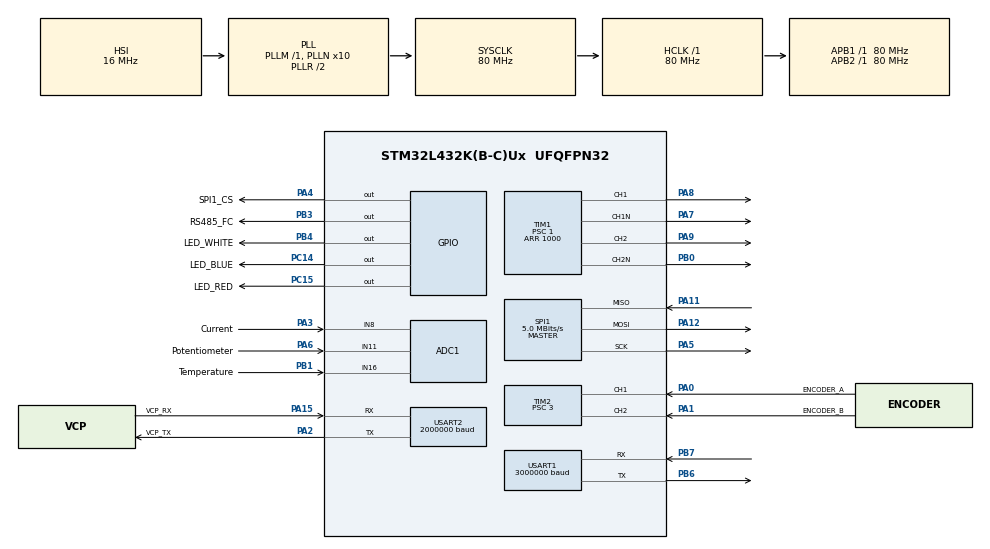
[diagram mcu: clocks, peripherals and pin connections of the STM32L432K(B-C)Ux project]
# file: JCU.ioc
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ADC1.Channel-0\#ChannelRegularConversion=ADC_CHANNEL_11
ADC1.Channel-1\#ChannelRegularConversion=ADC_CHANNEL_8
ADC1.Channel-2\#ChannelRegularConversion=ADC_CHANNEL_16
ADC1.EOCSelection=ADC_EOC_SEQ_CONV
ADC1.NbrOfConversion=3
ADC1.NbrOfConversionFlag=1
ADC1.OffsetNumber-0\#ChannelRegularConversion=ADC_OFFSET_NONE
ADC1.OffsetNumber-1\#ChannelRegularConversion=ADC_OFFSET_NONE
ADC1.OffsetNumber-2\#ChannelRegularConversion=ADC_OFFSET_NONE
ADC1.Rank-0\#ChannelRegularConversion=1
ADC1.Rank-1\#ChannelRegularConversion=2
ADC1.Rank-2\#ChannelRegularConversion=3
ADC1.SamplingTime-0\#ChannelRegularConversion=ADC_SAMPLETIME_92CYCLES_5
ADC1.SamplingTime-1\#ChannelRegularConversion=ADC_SAMPLETIME_92CYCLES_5
ADC1.SamplingTime-2\#ChannelRegularConversion=ADC_SAMPLETIME_92CYCLES_5
ADC1.master=1
Dma.ADC1.4.Direction=DMA_PERIPH_TO_MEMORY
Dma.ADC1.4.Instance=DMA1_Channel1
Dma.ADC1.4.MemDataAlignment=DMA_MDATAALIGN_HALFWORD
Dma.ADC1.4.MemInc=DMA_MINC_ENABLE
Dma.ADC1.4.Mode=DMA_NORMAL
Dma.ADC1.4.PeriphDataAlignment=DMA_PDATAALIGN_HALFWORD
Dma.ADC1.4.PeriphInc=DMA_PINC_DISABLE
Dma.ADC1.4.Priority=DMA_PRIORITY_LOW
Dma.Request0=USART2_RX
Dma.Request1=USART2_TX
Dma.Request2=USART1_RX
Dma.Request3=USART1_TX
Dma.Request4=ADC1
Dma.USART1_RX.2.Direction=DMA_PERIPH_TO_MEMORY
Dma.USART1_RX.2.Instance=DMA1_Channel5
Dma.USART1_RX.2.MemDataAlignment=DMA_MDATAALIGN_BYTE
Dma.USART1_RX.2.MemInc=DMA_MINC_ENABLE
Dma.USART1_RX.2.Mode=DMA_NORMAL
Dma.USART1_RX.2.PeriphDataAlignment=DMA_PDATAALIGN_BYTE
Dma.USART1_RX.2.PeriphInc=DMA_PINC_DISABLE
Dma.USART1_RX.2.Priority=DMA_PRIORITY_LOW
Dma.USART1_TX.3.Direction=DMA_MEMORY_TO_PERIPH
Dma.USART1_TX.3.Instance=DMA1_Channel4
Dma.USART1_TX.3.MemDataAlignment=DMA_MDATAALIGN_BYTE
Dma.USART1_TX.3.MemInc=DMA_MINC_ENABLE
Dma.USART1_TX.3.Mode=DMA_NORMAL
Dma.USART1_TX.3.PeriphDataAlignment=DMA_PDATAALIGN_BYTE
Dma.USART1_TX.3.PeriphInc=DMA_PINC_DISABLE
Dma.USART1_TX.3.Priority=DMA_PRIORITY_LOW
Dma.USART2_RX.0.Direction=DMA_PERIPH_TO_MEMORY
Dma.USART2_RX.0.Instance=DMA1_Channel6
Dma.USART2_RX.0.MemDataAlignment=DMA_MDATAALIGN_BYTE
Dma.USART2_RX.0.MemInc=DMA_MINC_ENABLE
Dma.USART2_RX.0.Mode=DMA_NORMAL
Dma.USART2_RX.0.PeriphDataAlignment=DMA_PDATAALIGN_BYTE
Dma.USART2_RX.0.PeriphInc=DMA_PINC_DISABLE
Dma.USART2_RX.0.Priority=DMA_PRIORITY_LOW
Dma.USART2_TX.1.Direction=DMA_MEMORY_TO_PERIPH
Dma.USART2_TX.1.Instance=DMA1_Channel7
Dma.USART2_TX.1.MemDataAlignment=DMA_MDATAALIGN_BYTE
Dma.USART2_TX.1.MemInc=DMA_MINC_ENABLE
Dma.USART2_TX.1.Mode=DMA_NORMAL
Dma.USART2_TX.1.PeriphDataAlignment=DMA_PDATAALIGN_BYTE
Dma.USART2_TX.1.PeriphInc=DMA_PINC_DISABLE
Dma.USART2_TX.1.Priority=DMA_PRIORITY_LOW
Mcu.Family=STM32L4
Mcu.Name=STM32L432K(B-C)Ux
Mcu.Package=UFQFPN32
NVIC.ADC1_IRQn=true\:0\:0\:false\:false\:true\:true\:true\:true
NVIC.DMA1_Channel1_IRQn=true\:0\:0\:false\:false\:true\:false\:true\:true
NVIC.DMA1_Channel4_IRQn=true\:0\:0\:false\:false\:true\:false\:true\:true
NVIC.DMA1_Channel5_IRQn=true\:0\:0\:false\:false\:true\:false\:true\:true
NVIC.DMA1_Channel6_IRQn=true\:0\:0\:false\:false\:true\:false\:true\:true
NVIC.DMA1_Channel7_IRQn=true\:0\:0\:false\:false\:true\:false\:true\:true
NVIC.PriorityGroup=NVIC_PRIORITYGROUP_4
NVIC.SPI1_IRQn=true\:0\:0\:false\:false\:true\:true\:true\:true
NVIC.TIM1_UP_TIM16_IRQn=true\:0\:0\:false\:false\:true\:true\:true\:true
NVIC.TIM2_IRQn=true\:0\:0\:false\:false\:true\:true\:true\:true
NVIC.USART1_IRQn=true\:0\:0\:false\:false\:true\:true\:true\:true
NVIC.USART2_IRQn=true\:0\:0\:false\:false\:true\:true\:true\:true
PA0.GPIO_Label=ENCODER_A
PA0.GPIO_ModeDefaultPP=GPIO_MODE_AF_PP
PA0.GPIO_PuPd=GPIO_PULLUP
PA0.GPIO_Speed=GPIO_SPEED_FREQ_LOW
PA0.Signal=S_TIM2_CH1
PA1.GPIO_Label=ENCODER_B
PA1.GPIO_ModeDefaultPP=GPIO_MODE_AF_PP
PA1.GPIO_PuPd=GPIO_PULLUP
PA1.GPIO_Speed=GPIO_SPEED_FREQ_LOW
PA1.Signal=S_TIM2_CH2
PA11.Mode=Full_Duplex_Master
PA11.Signal=SPI1_MISO
PA12.Mode=Full_Duplex_Master
PA12.Signal=SPI1_MOSI
PA13\ (JTMS-SWDIO).GPIO_Label=SWDIO
PA13\ (JTMS-SWDIO).Mode=Serial_Wire
PA13\ (JTMS-SWDIO).Signal=SYS_JTMS-SWDIO
PA14\ (JTCK-SWCLK).GPIO_Label=SWCLK
PA14\ (JTCK-SWCLK).Mode=Serial_Wire
PA14\ (JTCK-SWCLK).Signal=SYS_JTCK-SWCLK
PA15\ (JTDI).GPIO_Label=VCP_RX
PA15\ (JTDI).Mode=Asynchronous
PA15\ (JTDI).Signal=USART2_RX
PA2.GPIO_Label=VCP_TX
PA2.Mode=Asynchronous
PA2.Signal=USART2_TX
PA3.GPIO_Label=Current
PA3.Signal=ADCx_IN8
PA4.GPIO_Label=SPI1_CS
PA4.GPIO_Speed=GPIO_SPEED_FREQ_VERY_HIGH
PA4.Signal=GPIO_Output
PA5.Mode=Full_Duplex_Master
PA5.Signal=SPI1_SCK
PA6.GPIO_Label=Potentiometer
PA6.Signal=ADCx_IN11
PA7.Mode=PWM Generation1 CH1 CH1N
PA7.Signal=TIM1_CH1N
PA8.Signal=S_TIM1_CH1
PA9.Signal=S_TIM1_CH2
PB0.Mode=PWM Generation2 CH2 CH2N
PB0.Signal=TIM1_CH2N
PB1.GPIO_Label=Temperature
PB1.Signal=ADCx_IN16
PB3\ (JTDO-TRACESWO).GPIO_Label=RS485_FC
PB3\ (JTDO-TRACESWO).GPIO_Speed=GPIO_SPEED_FREQ_VERY_HIGH
PB3\ (JTDO-TRACESWO).Signal=GPIO_Output
PB4\ (NJTRST).GPIO_Label=LED_WHITE
PB4\ (NJTRST).GPIO_Speed=GPIO_SPEED_FREQ_VERY_HIGH
PB4\ (NJTRST).Signal=GPIO_Output
PB6.Mode=Asynchronous
PB6.Signal=USART1_TX
PB7.Mode=Asynchronous
PB7.Signal=USART1_RX
PC14-OSC32_IN\ (PC14).GPIO_Label=LED_BLUE
PC14-OSC32_IN\ (PC14).Signal=GPIO_Output
PC15-OSC32_OUT\ (PC15).GPIO_Label=LED_RED
PC15-OSC32_OUT\ (PC15).Signal=GPIO_Output
ProjectManager.HeapSize=0x200
ProjectManager.StackSize=0x400
ProjectManager.TargetToolchain=STM32CubeIDE
RCC.ADCFreq_Value=80000000
RCC.AHBFreq_Value=80000000
RCC.APB1Freq_Value=80000000
RCC.APB1TimFreq_Value=80000000
RCC.APB2Freq_Value=80000000
RCC.APB2TimFreq_Value=80000000
RCC.CortexFreq_Value=80000000
RCC.HCLKFreq_Value=80000000
RCC.HSE_VALUE=8000000
RCC.HSI16_VALUE=16000000
RCC.HSI48_VALUE=48000000
RCC.HSI_VALUE=16000000
RCC.LSE_VALUE=32768
RCC.MSI_VALUE=4000000
RCC.PLLMUL=RCC_PLLMUL_4
RCC.PLLN=10
RCC.PLLSAI1N=10
RCC.PLLSourceVirtual=RCC_PLLSOURCE_HSI
RCC.SYSCLKFreq_VALUE=80000000
RCC.SYSCLKSource=RCC_SYSCLKSOURCE_PLLCLK
RCC.USBFreq_Value=80000000
RCC.VCOOutputFreq_Value=160000000
SH.ADCx_IN11.0=ADC1_IN11,IN11-Single-Ended
SH.ADCx_IN16.0=ADC1_IN16,IN16-Single-Ended
SH.ADCx_IN8.0=ADC1_IN8,IN8-Single-Ended
SH.S_TIM1_CH1.0=TIM1_CH1,PWM Generation1 CH1 CH1N
SH.S_TIM1_CH2.0=TIM1_CH2,PWM Generation2 CH2 CH2N
SH.S_TIM2_CH1.0=TIM2_CH1,Encoder_Interface
SH.S_TIM2_CH2.0=TIM2_CH2,Encoder_Interface
SPI1.BaudRatePrescaler=SPI_BAUDRATEPRESCALER_16
SPI1.CLKPhase=SPI_PHASE_2EDGE
SPI1.CalculateBaudRate=5.0 MBits/s
SPI1.DataSize=SPI_DATASIZE_8BIT
SPI1.Direction=SPI_DIRECTION_2LINES
SPI1.Mode=SPI_MODE_MASTER
SPI1.VirtualType=VM_MASTER
TIM1.Channel-PWM\ Generation1\ CH1\ CH1N=TIM_CHANNEL_1
TIM1.Channel-PWM\ Generation2\ CH2\ CH2N=TIM_CHANNEL_2
TIM1.CounterMode=TIM_COUNTERMODE_CENTERALIGNED1
TIM1.DeadTime=10
TIM1.OCNPolarity_2=TIM_OCNPOLARITY_HIGH
TIM1.OCPolarity_2=TIM_OCPOLARITY_HIGH
TIM1.Period=1000
TIM1.Prescaler=1
TIM2.EncoderMode=TIM_ENCODERMODE_TI12
TIM2.IC1Polarity=TIM_ICPOLARITY_RISING
TIM2.IC2Polarity=TIM_ICPOLARITY_RISING
TIM2.Prescaler=3
USART1.BaudRate=3000000
USART1.OverSampling=UART_OVERSAMPLING_8
USART1.VirtualMode-Asynchronous=VM_ASYNC
USART2.BaudRate=2000000
USART2.OverSampling=UART_OVERSAMPLING_8
USART2.VirtualMode-Asynchronous=VM_ASYNC
VP_CRC_VS_CRC.Mode=CRC_Activate
board=NUCLEO-L432KC

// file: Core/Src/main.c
/* USER CODE BEGIN Header */
/**
  ******************************************************************************
  * @file           : main.c
  * @brief          : Main program body
  ******************************************************************************
  * @attention
  *
  * <h2><center>&copy; Copyright (c) 2021 STMicroelectronics.
  * All rights reserved.</center></h2>
  *
  * This software component is licensed by ST under BSD 3-Clause license,
  * the "License"; You may not use this file except in compliance with the
  * License. You may obtain a copy of the License at:
  *                        opensource.org/licenses/BSD-3-Clause
  *
  ******************************************************************************
  */

/*
 * TO DO
 * 1. allocate memory for JCU with attribute
 * 2. optimize Modbus parcing (currently 16.1 us)
 * 3. Clear buffers after UART, and review UART one more time, make more stable
 * 4. investigate and solve CRC problem
 * 5. Add DMA, for timer? for Uart?
 * 6. Check lines if there is no transmission before sending something
 * 7. Modbus coils, so that user can enable and disable single bit in status register. Check it carefully
 * 9. Double check bits maps. have been changed in Modbus register description
 * 10. Implement current loop
 * 11. Use encoder timer with DMA
 * 12. Use another timer in capture mode to calculate speed, acceleration, deceleration
 * 13. Check if error and exception which minimal modbus in Python gives me
 * 14. in modbus coils clear bits with bitwise operators
 */

/* USER CODE END Header */
#include "main.h"
#include "JCU_defines.h"
/* USER CODE BEGIN Includes */
 //#include "JCU_defines.h"
/* USER CODE END Includes */

/* USER CODE BEGIN PD */
#define BUFFSIZE					100

//for 3 Mbit - 20 - value for waiting 3.5 bytes of silence after end of receiving Modbus package

#define MODBUS_TIMEOUT				20

/* USER CODE END PD */

 ADC_HandleTypeDef hadc1;
DMA_HandleTypeDef hdma_adc1;

CRC_HandleTypeDef hcrc;

SPI_HandleTypeDef hspi1;

TIM_HandleTypeDef htim1;
TIM_HandleTypeDef htim2;

UART_HandleTypeDef huart1;
UART_HandleTypeDef huart2;
DMA_HandleTypeDef hdma_usart1_rx;
DMA_HandleTypeDef hdma_usart1_tx;
DMA_HandleTypeDef hdma_usart2_rx;
DMA_HandleTypeDef hdma_usart2_tx;

/* USER CODE BEGIN PV */
uint8_t RxData[BUFFSIZE] = {0};
uint8_t TxData[BUFFSIZE] = {0};
uint8_t Bytecounter = 0;

extern volatile uint16_t adcResultDMA[3];
extern JCU_Config_t JCUConfig;
extern JCU_State_t JCUState;

/* USER CODE END PV */

void SystemClock_Config(void);
static void MX_GPIO_Init(void);
static void MX_USART2_UART_Init(void);
static void MX_DMA_Init(void);
static void MX_ADC1_Init(void);
static void MX_TIM1_Init(void);
static void MX_SPI1_Init(void);
static void MX_CRC_Init(void);
static void MX_USART1_UART_Init(void);
static void MX_TIM2_Init(void);
/* USER CODE BEGIN PFP */
extern void ModbusRTURoutine(uint8_t *pBUFFER, uint8_t Length);
extern void CheckControlRegister(void);
/* USER CODE END PFP */

int main(void)
{

  /* MCU Configuration--------------------------------------------------------*/

  /* Reset of all peripherals, Initializes the Flash interface and the Systick. */
  HAL_Init();

  /* Configure the system clock */
  SystemClock_Config();

  /* Initialize all configured peripherals */
  MX_GPIO_Init();
  MX_USART2_UART_Init();
  MX_DMA_Init();
  MX_ADC1_Init();
  MX_TIM1_Init();
  MX_SPI1_Init();
  MX_CRC_Init();
  MX_USART1_UART_Init();
  MX_TIM2_Init();
  /* USER CODE BEGIN 2 */

  // disable interrupt of DMA - half of reveive
  __HAL_DMA_DISABLE_IT(&hdma_usart1_rx, DMA_IT_HT);
  __HAL_DMA_DISABLE_IT(&hdma_adc1, DMA_IT_HT);
  hdma_usart1_rx.Instance->CNDTR = BUFFSIZE;
  HAL_UART_Receive_DMA(&huart1, RxData, BUFFSIZE);

  HAL_TIM_Encoder_Start_IT(&htim2, TIM_CHANNEL_ALL);
  // HAL_TIM_Encoder_Start_DMA

  /*
   * Test part
   */
  JCUConfig.KpPossitionLoop = 0.3;
  JCUConfig.TargetAngel = 11000;
  JCUConfig.ControlRegister = 0x12;
  CheckControlRegister();

  /* USER CODE END 2 */

  /* Infinite loop */
  while (1)
  {

  }
}

void SystemClock_Config(void)
{
  RCC_OscInitTypeDef RCC_OscInitStruct = {0};
  RCC_ClkInitTypeDef RCC_ClkInitStruct = {0};

  /** Configure the main internal regulator output voltage
  */
  if (HAL_PWREx_ControlVoltageScaling(PWR_REGULATOR_VOLTAGE_SCALE1) != HAL_OK)
  {
    Error_Handler();
  }

  /** Initializes the RCC Oscillators according to the specified parameters
  * in the RCC_OscInitTypeDef structure.
  */
  RCC_OscInitStruct.OscillatorType = RCC_OSCILLATORTYPE_HSI;
  RCC_OscInitStruct.HSIState = RCC_HSI_ON;
  RCC_OscInitStruct.HSICalibrationValue = RCC_HSICALIBRATION_DEFAULT;
  RCC_OscInitStruct.PLL.PLLState = RCC_PLL_ON;
  RCC_OscInitStruct.PLL.PLLSource = RCC_PLLSOURCE_HSI;
  RCC_OscInitStruct.PLL.PLLM = 1;
  RCC_OscInitStruct.PLL.PLLN = 10;
  RCC_OscInitStruct.PLL.PLLP = RCC_PLLP_DIV7;
  RCC_OscInitStruct.PLL.PLLQ = RCC_PLLQ_DIV2;
  RCC_OscInitStruct.PLL.PLLR = RCC_PLLR_DIV2;
  if (HAL_RCC_OscConfig(&RCC_OscInitStruct) != HAL_OK)
  {
    Error_Handler();
  }

  /** Initializes the CPU, AHB and APB buses clocks
  */
  RCC_ClkInitStruct.ClockType = RCC_CLOCKTYPE_HCLK|RCC_CLOCKTYPE_SYSCLK
                              |RCC_CLOCKTYPE_PCLK1|RCC_CLOCKTYPE_PCLK2;
  RCC_ClkInitStruct.SYSCLKSource = RCC_SYSCLKSOURCE_PLLCLK;
  RCC_ClkInitStruct.AHBCLKDivider = RCC_SYSCLK_DIV1;
  RCC_ClkInitStruct.APB1CLKDivider = RCC_HCLK_DIV1;
  RCC_ClkInitStruct.APB2CLKDivider = RCC_HCLK_DIV1;

  if (HAL_RCC_ClockConfig(&RCC_ClkInitStruct, FLASH_LATENCY_4) != HAL_OK)
  {
    Error_Handler();
  }
}

static void MX_ADC1_Init(void)
{

  ADC_ChannelConfTypeDef sConfig = {0};

  /** Common config
  */
  hadc1.Instance = ADC1;
  hadc1.Init.ClockPrescaler = ADC_CLOCK_ASYNC_DIV1;
  hadc1.Init.Resolution = ADC_RESOLUTION_12B;
  hadc1.Init.DataAlign = ADC_DATAALIGN_RIGHT;
  hadc1.Init.ScanConvMode = ADC_SCAN_ENABLE;
  hadc1.Init.EOCSelection = ADC_EOC_SEQ_CONV;
  hadc1.Init.LowPowerAutoWait = DISABLE;
  hadc1.Init.ContinuousConvMode = DISABLE;
  hadc1.Init.NbrOfConversion = 3;
  hadc1.Init.DiscontinuousConvMode = DISABLE;
  hadc1.Init.ExternalTrigConv = ADC_SOFTWARE_START;
  hadc1.Init.ExternalTrigConvEdge = ADC_EXTERNALTRIGCONVEDGE_NONE;
  hadc1.Init.DMAContinuousRequests = DISABLE;
  hadc1.Init.Overrun = ADC_OVR_DATA_PRESERVED;
  hadc1.Init.OversamplingMode = DISABLE;
  if (HAL_ADC_Init(&hadc1) != HAL_OK)
  {
    Error_Handler();
  }

  /** Configure Regular Channel
  */
  sConfig.Channel = ADC_CHANNEL_11;
  sConfig.Rank = ADC_REGULAR_RANK_1;
  sConfig.SamplingTime = ADC_SAMPLETIME_92CYCLES_5;
  sConfig.SingleDiff = ADC_SINGLE_ENDED;
  sConfig.OffsetNumber = ADC_OFFSET_NONE;
  sConfig.Offset = 0;
  if (HAL_ADC_ConfigChannel(&hadc1, &sConfig) != HAL_OK)
  {
    Error_Handler();
  }

  /** Configure Regular Channel
  */
  sConfig.Channel = ADC_CHANNEL_8;
  sConfig.Rank = ADC_REGULAR_RANK_2;
  if (HAL_ADC_ConfigChannel(&hadc1, &sConfig) != HAL_OK)
  {
    Error_Handler();
  }

  /** Configure Regular Channel
  */
  sConfig.Channel = ADC_CHANNEL_16;
  sConfig.Rank = ADC_REGULAR_RANK_3;
  if (HAL_ADC_ConfigChannel(&hadc1, &sConfig) != HAL_OK)
  {
    Error_Handler();
  }

}

static void MX_CRC_Init(void)
{

  /* USER CODE BEGIN CRC_Init 1 */

	hcrc.Instance = CRC;
	hcrc.Init.DefaultPolynomialUse = DEFAULT_POLYNOMIAL_DISABLE;
	hcrc.Init.DefaultInitValueUse = DEFAULT_INIT_VALUE_DISABLE;
	hcrc.Init.InputDataInversionMode = CRC_INPUTDATA_INVERSION_BYTE;
	hcrc.Init.OutputDataInversionMode = CRC_OUTPUTDATA_INVERSION_ENABLE;
	hcrc.Init.GeneratingPolynomial = 0x8005;
	hcrc.Init.CRCLength = CRC_POLYLENGTH_16B;
	hcrc.Init.InitValue = 0xFFFF;
	hcrc.InputDataFormat = CRC_INPUTDATA_FORMAT_BYTES;
	if (HAL_CRC_Init(&hcrc) != HAL_OK)
	{
	Error_Handler();
	}

	// do not compile CRC settings from Cube MX
	#if defined(CUBEMXCRC)
  /* USER CODE END CRC_Init 1 */
  hcrc.Instance = CRC;
  hcrc.Init.DefaultPolynomialUse = DEFAULT_POLYNOMIAL_ENABLE;
  hcrc.Init.DefaultInitValueUse = DEFAULT_INIT_VALUE_ENABLE;
  hcrc.Init.InputDataInversionMode = CRC_INPUTDATA_INVERSION_NONE;
  hcrc.Init.OutputDataInversionMode = CRC_OUTPUTDATA_INVERSION_DISABLE;
  hcrc.InputDataFormat = CRC_INPUTDATA_FORMAT_BYTES;
  if (HAL_CRC_Init(&hcrc) != HAL_OK)
  {
    Error_Handler();
  }
  /* USER CODE BEGIN CRC_Init 2 */
	#endif
  /* USER CODE END CRC_Init 2 */

}

static void MX_SPI1_Init(void)
{

  /* SPI1 parameter configuration*/
  hspi1.Instance = SPI1;
  hspi1.Init.Mode = SPI_MODE_MASTER;
  hspi1.Init.Direction = SPI_DIRECTION_2LINES;
  hspi1.Init.DataSize = SPI_DATASIZE_8BIT;
  hspi1.Init.CLKPolarity = SPI_POLARITY_LOW;
  hspi1.Init.CLKPhase = SPI_PHASE_2EDGE;
  hspi1.Init.NSS = SPI_NSS_SOFT;
  hspi1.Init.BaudRatePrescaler = SPI_BAUDRATEPRESCALER_16;
  hspi1.Init.FirstBit = SPI_FIRSTBIT_MSB;
  hspi1.Init.TIMode = SPI_TIMODE_DISABLE;
  hspi1.Init.CRCCalculation = SPI_CRCCALCULATION_DISABLE;
  hspi1.Init.CRCPolynomial = 7;
  hspi1.Init.CRCLength = SPI_CRC_LENGTH_DATASIZE;
  hspi1.Init.NSSPMode = SPI_NSS_PULSE_DISABLE;
  if (HAL_SPI_Init(&hspi1) != HAL_OK)
  {
    Error_Handler();
  }

}

static void MX_TIM1_Init(void)
{

  TIM_MasterConfigTypeDef sMasterConfig = {0};
  TIM_OC_InitTypeDef sConfigOC = {0};
  TIM_BreakDeadTimeConfigTypeDef sBreakDeadTimeConfig = {0};

  htim1.Instance = TIM1;
  htim1.Init.Prescaler = 1;
  htim1.Init.CounterMode = TIM_COUNTERMODE_CENTERALIGNED1;
  htim1.Init.Period = 1000;
  htim1.Init.ClockDivision = TIM_CLOCKDIVISION_DIV1;
  htim1.Init.RepetitionCounter = 0;
  htim1.Init.AutoReloadPreload = TIM_AUTORELOAD_PRELOAD_DISABLE;
  if (HAL_TIM_PWM_Init(&htim1) != HAL_OK)
  {
    Error_Handler();
  }
  sMasterConfig.MasterOutputTrigger = TIM_TRGO_RESET;
  sMasterConfig.MasterOutputTrigger2 = TIM_TRGO2_RESET;
  sMasterConfig.MasterSlaveMode = TIM_MASTERSLAVEMODE_DISABLE;
  if (HAL_TIMEx_MasterConfigSynchronization(&htim1, &sMasterConfig) != HAL_OK)
  {
    Error_Handler();
  }
  sConfigOC.OCMode = TIM_OCMODE_PWM1;
  sConfigOC.Pulse = 0;
  sConfigOC.OCPolarity = TIM_OCPOLARITY_HIGH;
  sConfigOC.OCNPolarity = TIM_OCNPOLARITY_HIGH;
  sConfigOC.OCFastMode = TIM_OCFAST_DISABLE;
  sConfigOC.OCIdleState = TIM_OCIDLESTATE_RESET;
  sConfigOC.OCNIdleState = TIM_OCNIDLESTATE_RESET;
  if (HAL_TIM_PWM_ConfigChannel(&htim1, &sConfigOC, TIM_CHANNEL_1) != HAL_OK)
  {
    Error_Handler();
  }
  if (HAL_TIM_PWM_ConfigChannel(&htim1, &sConfigOC, TIM_CHANNEL_2) != HAL_OK)
  {
    Error_Handler();
  }
  sBreakDeadTimeConfig.OffStateRunMode = TIM_OSSR_DISABLE;
  sBreakDeadTimeConfig.OffStateIDLEMode = TIM_OSSI_DISABLE;
  sBreakDeadTimeConfig.LockLevel = TIM_LOCKLEVEL_OFF;
  sBreakDeadTimeConfig.DeadTime = 10;
  sBreakDeadTimeConfig.BreakState = TIM_BREAK_DISABLE;
  sBreakDeadTimeConfig.BreakPolarity = TIM_BREAKPOLARITY_HIGH;
  sBreakDeadTimeConfig.BreakFilter = 0;
  sBreakDeadTimeConfig.Break2State = TIM_BREAK2_DISABLE;
  sBreakDeadTimeConfig.Break2Polarity = TIM_BREAK2POLARITY_HIGH;
  sBreakDeadTimeConfig.Break2Filter = 0;
  sBreakDeadTimeConfig.AutomaticOutput = TIM_AUTOMATICOUTPUT_DISABLE;
  if (HAL_TIMEx_ConfigBreakDeadTime(&htim1, &sBreakDeadTimeConfig) != HAL_OK)
  {
    Error_Handler();
  }
  HAL_TIM_MspPostInit(&htim1);

}

static void MX_TIM2_Init(void)
{

  TIM_Encoder_InitTypeDef sConfig = {0};
  TIM_MasterConfigTypeDef sMasterConfig = {0};

  htim2.Instance = TIM2;
  htim2.Init.Prescaler = 3;
  htim2.Init.CounterMode = TIM_COUNTERMODE_UP;
  htim2.Init.Period = 4294967295;
  htim2.Init.ClockDivision = TIM_CLOCKDIVISION_DIV1;
  htim2.Init.AutoReloadPreload = TIM_AUTORELOAD_PRELOAD_DISABLE;
  sConfig.EncoderMode = TIM_ENCODERMODE_TI12;
  sConfig.IC1Polarity = TIM_ICPOLARITY_RISING;
  sConfig.IC1Selection = TIM_ICSELECTION_DIRECTTI;
  sConfig.IC1Prescaler = TIM_ICPSC_DIV1;
  sConfig.IC1Filter = 0;
  sConfig.IC2Polarity = TIM_ICPOLARITY_RISING;
  sConfig.IC2Selection = TIM_ICSELECTION_DIRECTTI;
  sConfig.IC2Prescaler = TIM_ICPSC_DIV1;
  sConfig.IC2Filter = 0;
  if (HAL_TIM_Encoder_Init(&htim2, &sConfig) != HAL_OK)
  {
    Error_Handler();
  }
  sMasterConfig.MasterOutputTrigger = TIM_TRGO_RESET;
  sMasterConfig.MasterSlaveMode = TIM_MASTERSLAVEMODE_DISABLE;
  if (HAL_TIMEx_MasterConfigSynchronization(&htim2, &sMasterConfig) != HAL_OK)
  {
    Error_Handler();
  }

}

static void MX_USART1_UART_Init(void)
{

  huart1.Instance = USART1;
  huart1.Init.BaudRate = 3000000;
  huart1.Init.WordLength = UART_WORDLENGTH_8B;
  huart1.Init.StopBits = UART_STOPBITS_1;
  huart1.Init.Parity = UART_PARITY_NONE;
  huart1.Init.Mode = UART_MODE_TX_RX;
  huart1.Init.HwFlowCtl = UART_HWCONTROL_NONE;
  huart1.Init.OverSampling = UART_OVERSAMPLING_8;
  huart1.Init.OneBitSampling = UART_ONE_BIT_SAMPLE_DISABLE;
  huart1.AdvancedInit.AdvFeatureInit = UART_ADVFEATURE_NO_INIT;
  if (HAL_UART_Init(&huart1) != HAL_OK)
  {
    Error_Handler();
  }
  /* USER CODE BEGIN USART1_Init 2 */

  /*
   * Enable hardware "End of block" detection
   */
  huart1.Instance->RTOR = MODBUS_TIMEOUT;
  huart1.Instance->CR1 |= USART_CR1_RTOIE;
  huart1.Instance->CR2 |= USART_CR2_RTOEN;

  /* USER CODE END USART1_Init 2 */

}

static void MX_USART2_UART_Init(void)
{

  huart2.Instance = USART2;
  huart2.Init.BaudRate = 2000000;
  huart2.Init.WordLength = UART_WORDLENGTH_8B;
  huart2.Init.StopBits = UART_STOPBITS_1;
  huart2.Init.Parity = UART_PARITY_NONE;
  huart2.Init.Mode = UART_MODE_TX_RX;
  huart2.Init.HwFlowCtl = UART_HWCONTROL_NONE;
  huart2.Init.OverSampling = UART_OVERSAMPLING_8;
  huart2.Init.OneBitSampling = UART_ONE_BIT_SAMPLE_DISABLE;
  huart2.AdvancedInit.AdvFeatureInit = UART_ADVFEATURE_NO_INIT;
  if (HAL_UART_Init(&huart2) != HAL_OK)
  {
    Error_Handler();
  }
  /* USER CODE BEGIN USART2_Init 2 */

  /*
   * Enable hardware "End of block" detection
   */
  huart2.Instance->RTOR = MODBUS_TIMEOUT;
  huart2.Instance->CR1 |= USART_CR1_RTOIE;
  huart2.Instance->CR2 |= USART_CR2_RTOEN;

  /* USER CODE END USART2_Init 2 */

}

static void MX_DMA_Init(void)
{

  /* DMA controller clock enable */
  __HAL_RCC_DMA1_CLK_ENABLE();

  /* DMA interrupt init */
  /* DMA1_Channel1_IRQn interrupt configuration */
  HAL_NVIC_SetPriority(DMA1_Channel1_IRQn, 0, 0);
  HAL_NVIC_EnableIRQ(DMA1_Channel1_IRQn);
  /* DMA1_Channel4_IRQn interrupt configuration */
  HAL_NVIC_SetPriority(DMA1_Channel4_IRQn, 0, 0);
  HAL_NVIC_EnableIRQ(DMA1_Channel4_IRQn);
  /* DMA1_Channel5_IRQn interrupt configuration */
  HAL_NVIC_SetPriority(DMA1_Channel5_IRQn, 0, 0);
  HAL_NVIC_EnableIRQ(DMA1_Channel5_IRQn);
  /* DMA1_Channel6_IRQn interrupt configuration */
  HAL_NVIC_SetPriority(DMA1_Channel6_IRQn, 0, 0);
  HAL_NVIC_EnableIRQ(DMA1_Channel6_IRQn);
  /* DMA1_Channel7_IRQn interrupt configuration */
  HAL_NVIC_SetPriority(DMA1_Channel7_IRQn, 0, 0);
  HAL_NVIC_EnableIRQ(DMA1_Channel7_IRQn);

}

static void MX_GPIO_Init(void)
{
  GPIO_InitTypeDef GPIO_InitStruct = {0};

  /* GPIO Ports Clock Enable */
  __HAL_RCC_GPIOC_CLK_ENABLE();
  __HAL_RCC_GPIOA_CLK_ENABLE();
  __HAL_RCC_GPIOB_CLK_ENABLE();

  /*Configure GPIO pin Output Level */
  HAL_GPIO_WritePin(GPIOC, LED_BLUE_Pin|LED_RED_Pin, GPIO_PIN_RESET);

  /*Configure GPIO pin Output Level */
  HAL_GPIO_WritePin(SPI1_CS_GPIO_Port, SPI1_CS_Pin, GPIO_PIN_RESET);

  /*Configure GPIO pin Output Level */
  HAL_GPIO_WritePin(GPIOB, RS485_FC_Pin|LED_WHITE_Pin, GPIO_PIN_RESET);

  /*Configure GPIO pins : LED_BLUE_Pin LED_RED_Pin */
  GPIO_InitStruct.Pin = LED_BLUE_Pin|LED_RED_Pin;
  GPIO_InitStruct.Mode = GPIO_MODE_OUTPUT_PP;
  GPIO_InitStruct.Pull = GPIO_NOPULL;
  GPIO_InitStruct.Speed = GPIO_SPEED_FREQ_LOW;
  HAL_GPIO_Init(GPIOC, &GPIO_InitStruct);

  /*Configure GPIO pin : SPI1_CS_Pin */
  GPIO_InitStruct.Pin = SPI1_CS_Pin;
  GPIO_InitStruct.Mode = GPIO_MODE_OUTPUT_PP;
  GPIO_InitStruct.Pull = GPIO_NOPULL;
  GPIO_InitStruct.Speed = GPIO_SPEED_FREQ_VERY_HIGH;
  HAL_GPIO_Init(SPI1_CS_GPIO_Port, &GPIO_InitStruct);

  /*Configure GPIO pins : RS485_FC_Pin LED_WHITE_Pin */
  GPIO_InitStruct.Pin = RS485_FC_Pin|LED_WHITE_Pin;
  GPIO_InitStruct.Mode = GPIO_MODE_OUTPUT_PP;
  GPIO_InitStruct.Pull = GPIO_NOPULL;
  GPIO_InitStruct.Speed = GPIO_SPEED_FREQ_VERY_HIGH;
  HAL_GPIO_Init(GPIOB, &GPIO_InitStruct);

}

/* USER CODE BEGIN 4 */

void EndofBlock(void)
{
	// Check if it is timeout, and no new byte is coming
	if (huart1.Instance->ISR & USART_ISR_RTOF)
	{
		//HAL_GPIO_WritePin(LD3_GPIO_Port, LD3_Pin, GPIO_PIN_SET);
		uint8_t Length = BUFFSIZE - hdma_usart1_rx.Instance->CNDTR;
		//__HAL_UART_CLEAR_FLAG(&huart1, UART_CLEAR_RTOF);
		SET_BIT(huart1.Instance->ICR, USART_ICR_RTOCF);
		//HAL_UART_Abort(&huart1);

		// Check if we received something, but not some glitch on the line
		if (Length>0)
		{
			HAL_GPIO_WritePin(LED_WHITE_GPIO_Port, LED_WHITE_Pin, GPIO_PIN_SET);
			ModbusRTURoutine(RxData, Length);
		}
		else
		{
			// if it was a glitch, wait new data
			HAL_GPIO_WritePin(RS485_FC_GPIO_Port, RS485_FC_Pin, GPIO_PIN_RESET);
			HAL_UART_Receive_DMA(&huart1, RxData, BUFFSIZE);
		}

	}
}

void HAL_UART_ErrorCallback(UART_HandleTypeDef *huart)
{

}

void HAL_UART_TxCpltCallback(UART_HandleTypeDef *huart)
{
	HAL_GPIO_WritePin(LED_WHITE_GPIO_Port, LED_WHITE_Pin, GPIO_PIN_RESET);
	HAL_GPIO_WritePin(RS485_FC_GPIO_Port, RS485_FC_Pin, GPIO_PIN_RESET);
	// disable DMA for reseting DMA's counter, after enable again
	__HAL_DMA_DISABLE(&hdma_usart1_rx);
	hdma_usart1_rx.Instance->CNDTR = BUFFSIZE;
	__HAL_DMA_ENABLE(&hdma_usart1_rx);
	HAL_UART_Receive_DMA(&huart1, RxData, BUFFSIZE);
}

/* USER CODE END 4 */

void Error_Handler(void)
{
  __disable_irq();
  while (1)
  {
  }
}
